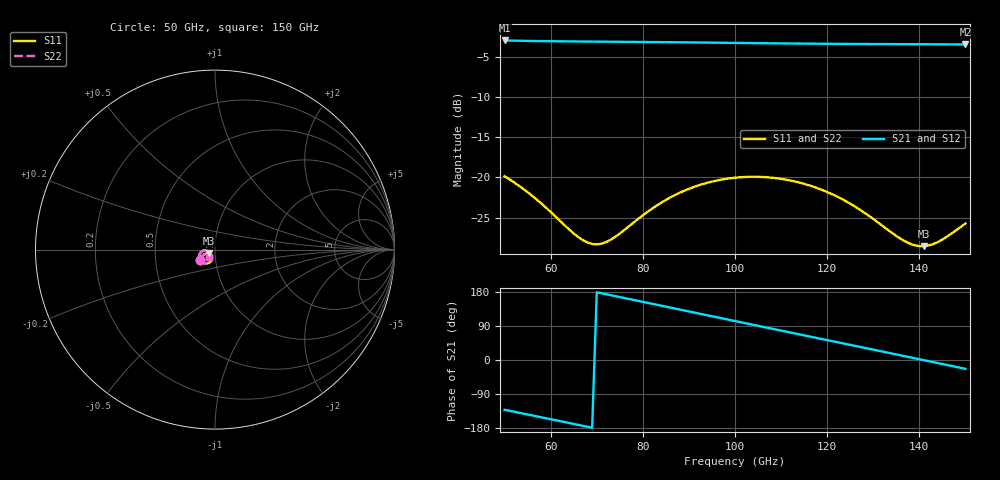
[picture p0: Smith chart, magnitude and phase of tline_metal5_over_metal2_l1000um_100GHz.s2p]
#  GHZ S DB R 50
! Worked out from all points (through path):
!   101 points, 50 GHz to 150 GHz, reference 50 ohm
!   highest |S21| = -2.98 dB at 50 GHz (marker M1); lowest = -3.5 dB at 150 GHz (marker M2)
!   group delay of S21, straight-line fit = 7 ps
!   lowest |S11| = -28.5 dB at 141 GHz (marker M3), VSWR 1.08, Z = 46.8 - j1.77 ohm
!   |S11| at or under -10 dB: start of sweep to end of sweep
!   |S22| runs from -28.7 to -19.8 dB; largest |S21 - S12| = 8.2e-14
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50  -19.85 -145.5  -2.98 -131.3  -2.98 -131.3  -19.82 -145.5
55  -21.83 -153.2  -3.03 -143.8  -3.03 -143.8  -21.80 -153.2
59  -23.76 -156.1  -3.06 -153.7  -3.06 -153.7  -23.71 -156.1
63  -25.92 -153.7  -3.09 -163.7  -3.09 -163.7  -25.85 -153.8
67  -27.80 -143.2  -3.11 -173.7  -3.11 -173.7  -27.72 -143.6
70  -28.31 -130.6  -3.12 178.7  -3.12 178.7  -28.25 -131.2
72  -28.04 -122.3  -3.13 173.7  -3.13 173.7  -28.00 -122.9
78  -25.59 -108.7  -3.16 158.5  -3.16 158.5  -25.61 -109.3
84  -23.13 -109.7  -3.18 143.3  -3.18 143.3  -23.16 -110.1
92  -21.00 -120.3  -3.23 123.1  -3.23 123.1  -21.04 -120.7
96  -20.38 -127.2  -3.26 113.0  -3.26 113.0  -20.43 -127.5
100  -20.03 -134.6  -3.28 102.9  -3.28 102.9  -20.07 -134.8
104  -19.91 -142.0  -3.31 92.8  -3.31 92.8  -19.96 -142.3
108  -20.03 -149.4  -3.33 82.7  -3.33 82.7  -20.08 -149.6
112  -20.37 -156.5  -3.35 72.6  -3.35 72.6  -20.43 -156.7
117  -21.15 -164.6  -3.38 60.1  -3.38 60.1  -21.21 -164.9
126  -23.60 -174.8  -3.41 37.4  -3.41 37.4  -23.70 -175.0
134  -26.85 -171.4  -3.43 17.2  -3.43 17.2  -27.01 -171.2
138  -28.23 -160.9  -3.44 7.1  -3.44 7.1  -28.40 -160.2
141  -28.53 -149.7  -3.45 -0.5  -3.45 -0.5  -28.67 -148.6
144  -28.02 -139.1  -3.46 -8.1  -3.46 -8.1  -28.10 -137.8
150  -25.73 -128.0  -3.48 -23.3  -3.48 -23.3  -25.72 -126.8
